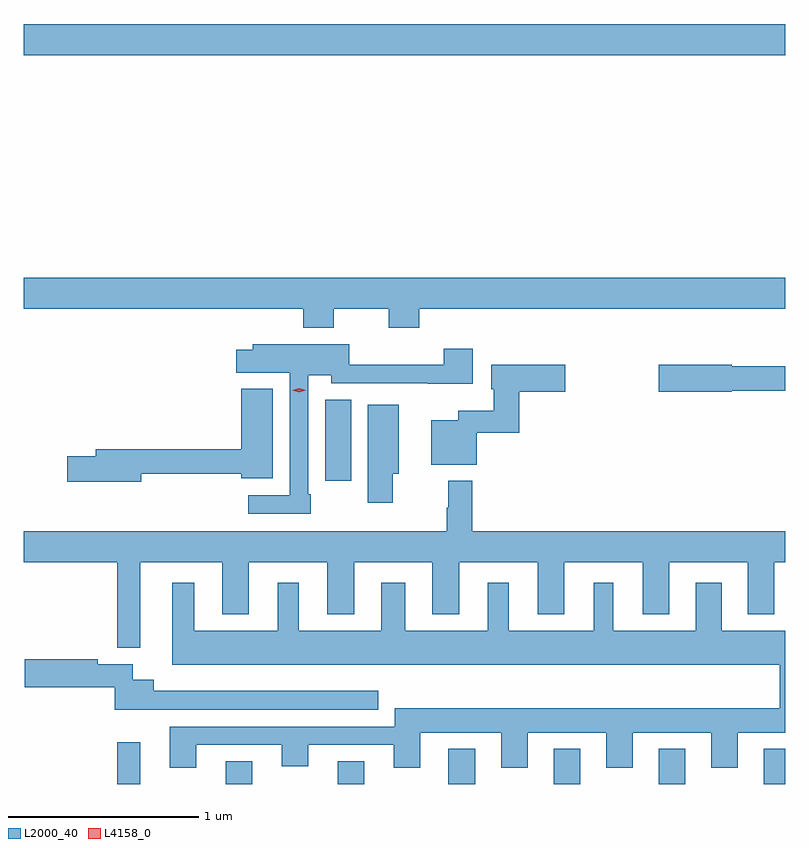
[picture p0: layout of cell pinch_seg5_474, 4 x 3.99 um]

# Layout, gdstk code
import gdstk
lib = gdstk.Library(unit=1e-6, precision=1e-09)
def R(c, l, rs):  # rectangles x0, y0, x1, y1
    for r in rs: c.add(gdstk.rectangle(r[:2], r[2:], *l))
def A(c, l, x, y, w, h, nx, ny, dx, dy):  # array of equal rectangles
    R(c, l, [(x+i*dx, y+j*dy, x+i*dx+w, y+j*dy+h) for i in range(nx) for j in range(ny)])
def P(c, l, *ps):  # polygons
    for p in ps: c.add(gdstk.Polygon(p, *l))
L2000_40 = (2000, 40)
L4158_0 = (4158, 0)

pinch_seg5_474 = lib.new_cell('pinch_seg5_474')
A(pinch_seg5_474, L2000_40, 946.781, 846.272, 0.14, 0.185, 3, 1, 0.552, 0)
R(pinch_seg5_474, L2000_40, [(945.042,846.272,945.163,846.49), (945.611,846.272,945.751,846.392), (946.199,846.272,946.339,846.392), (948.437,846.272,948.55,846.457), (946.133,847.866,946.27,848.291), (944.55,850.1,948.55,850.264)])
P(pinch_seg5_474, L2000_40, [(946.179,848.768),(946.468,848.768),(946.468,848.669),(946.628,848.669),(946.628,848.768),(948.55,848.768),(948.55,848.932),(944.55,848.932),(944.55,848.768),(946.019,848.768),(946.019,848.669),(946.179,848.669)],
  [(946.057,847.795),(946.044,847.795),(946.044,848.42),(946.164,848.42),(946.164,848.376),(946.673,848.376),(946.673,848.375),(946.909,848.375),(946.909,848.557),(946.757,848.557),(946.757,848.474),(946.26,848.474),(946.26,848.581),(945.753,848.581),(945.753,848.554),(945.666,848.554),(945.666,848.432),(945.948,848.432),(945.948,847.788),(945.729,847.788),(945.729,847.692),(946.057,847.692)],
  [(948.27,848.338),(948.55,848.338),(948.55,848.467),(948.27,848.467),(948.27,848.475),(947.886,848.475),(947.886,848.333),(948.27,848.333)],
  [(946.929,848.116),(947.153,848.116),(947.153,848.333),(947.395,848.333),(947.395,848.475),(947.006,848.475),(947.006,848.345),(947.019,848.345),(947.019,848.233),(946.833,848.233),(946.833,848.182),(946.691,848.182),(946.691,847.949),(946.929,847.949)],
  [(945.166,847.902),(945.692,847.902),(945.692,847.877),(945.859,847.877),(945.859,848.347),(945.692,848.347),(945.692,848.03),(944.927,848.03),(944.927,847.994),(944.778,847.994),(944.778,847.859),(945.166,847.859)],
  [(946.488,847.901),(946.519,847.901),(946.519,848.263),(946.358,848.263),(946.358,847.749),(946.488,847.749)],
  [(945.163,847.436),(945.593,847.436),(945.593,847.163),(945.733,847.163),(945.733,847.436),(946.145,847.436),(946.145,847.163),(946.285,847.163),(946.285,847.436),(946.697,847.436),(946.697,847.163),(946.837,847.163),(946.837,847.436),(947.249,847.436),(947.249,847.163),(947.389,847.163),(947.389,847.436),(947.801,847.436),(947.801,847.163),(947.941,847.163),(947.941,847.436),(948.353,847.436),(948.353,847.163),(948.493,847.163),(948.493,847.436),(948.55,847.436),(948.55,847.6),(946.907,847.6),(946.907,847.864),(946.779,847.864),(946.779,847.724),(946.771,847.724),(946.771,847.6),(944.55,847.6),(944.55,847.436),(945.042,847.436),(945.042,846.987),(945.163,846.987)],
  [(945.457,846.477),(945.905,846.477),(945.905,846.365),(946.045,846.365),(946.045,846.477),(946.493,846.477),(946.493,846.357),(946.633,846.357),(946.633,846.542),(947.057,846.542),(947.057,846.357),(947.197,846.357),(947.197,846.542),(947.609,846.542),(947.609,846.357),(947.749,846.357),(947.749,846.542),(948.161,846.542),(948.161,846.357),(948.301,846.357),(948.301,846.542),(948.55,846.542),(948.55,847.078),(948.217,847.078),(948.217,847.33),(948.08,847.33),(948.08,847.078),(947.647,847.078),(947.647,847.33),(947.543,847.33),(947.543,847.078),(947.098,847.078),(947.098,847.33),(946.988,847.33),(946.988,847.078),(946.555,847.078),(946.555,847.33),(946.427,847.33),(946.427,847.078),(945.994,847.078),(945.994,847.33),(945.884,847.33),(945.884,847.078),(945.445,847.078),(945.445,847.33),(945.329,847.33),(945.329,846.899),(948.521,846.899),(948.521,846.67),(946.499,846.67),(946.499,846.573),(945.317,846.573),(945.317,846.357),(945.457,846.357)],
  [(946.411,846.763),(945.232,846.763),(945.232,846.82),(945.123,846.82),(945.123,846.901),(944.94,846.901),(944.94,846.926),(944.556,846.926),(944.556,846.779),(945.027,846.779),(945.027,846.662),(946.411,846.662)])
P(pinch_seg5_474, L4158_0, [(945.996,848.331),(945.961,848.341),(945.961,848.341),(945.961,848.341),(945.996,848.351),(946.031,848.341),(946.031,848.341),(946.031,848.341)])

lib.write_gds('pinch_seg5_474.gds')
